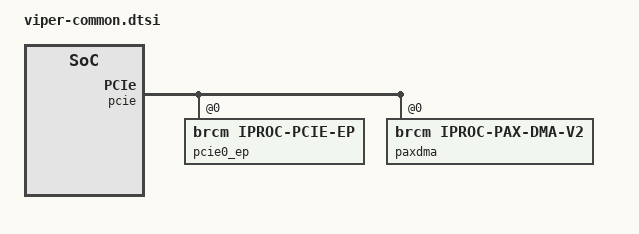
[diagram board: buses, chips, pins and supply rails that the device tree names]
/*
 * Copyright 2020 Broadcom
 *
 * SPDX-License-Identifier: Apache-2.0
 */

/ {
	soc {
		sram0: memory@400000 {
			device_type = "memory";
			reg = <0x00400000 0x80000>;
		};

		uart0: uart@40020000 {
			compatible = "ns16550";
			reg = <0x40020000 0x400>;
			clock-frequency = <25000000>;
			reg-shift = <2>;
			status = "disabled";
		};

		uart1: uart@48100000 {
			compatible = "ns16550";
			reg = <0x48100000 0x400>;
			clock-frequency = <100000000>;
			reg-shift = <2>;
			status = "disabled";
		};

		pl330: pl330@48300000 {
			compatible = "arm,dma-pl330";
			reg = <0x48300000 0x2000>,
			      <0x482f005c 0x20>;
			reg-names = "pl330_regs",
				    "control_regs";
			microcode = <0x63b00000  0x1000>;
			dma-channels = <8>;
			#dma-cells = <1>;
		};
	};

	pcie {
		#address-cells = <2>;
		#size-cells = <2>;

		pcie0_ep: pcie@4e100000 {
			compatible = "brcm,iproc-pcie-ep";
			reg = <0x0 0x4e100000 0x0 0x2100>,
			      <0x0 0x50000000 0x0 0x8000000>,
			      <0x4 0x0 0x0 0x8000000>;
			reg-names = "iproc_pcie_regs", "map_lowmem",
				    "map_highmem";
			dmas = <&pl330 0>, <&pl330 1>;
			dma-names = "txdma", "rxdma";
		};

		paxdma: paxdma@4e100800 {
			compatible = "brcm,iproc-pax-dma-v2";
			reg = <0x0 0x4e100800 0x0 0x2100>,
			      <0x0 0x4f000000 0x0 0x200000>,
			      <0x0 0x4f200000 0x0 0x10000>;
			reg-names = "dme_regs", "rm_ring_regs",
				    "rm_comm_regs";
			dma-channels = <4>;
			#dma-cells = <1>;
			bd-memory = <0x63b00000 0x100000>;
			scr-addr-loc = <0x200061f0>;
			scr-size-loc = <0x200061f8>;
			pcie-ep = <&pcie0_ep>;
		};
	};
};
